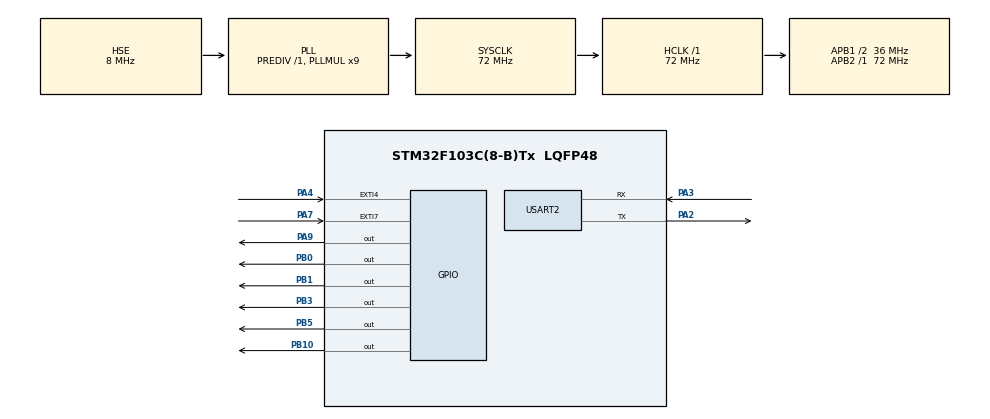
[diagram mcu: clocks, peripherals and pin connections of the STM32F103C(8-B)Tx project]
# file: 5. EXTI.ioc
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Mcu.Family=STM32F1
Mcu.Name=STM32F103C(8-B)Tx
Mcu.Package=LQFP48
NVIC.EXTI4_IRQn=true\:0\:0\:false\:true\:true\:2\:true\:true\:true
NVIC.EXTI9_5_IRQn=true\:0\:0\:true\:true\:true\:3\:true\:true\:true
NVIC.PriorityGroup=NVIC_PRIORITYGROUP_4
NVIC.TIM4_IRQn=true\:0\:0\:false\:true\:true\:4\:true\:true\:true
NVIC.USART2_IRQn=true\:0\:0\:false\:true\:true\:1\:true\:true\:true
PA13.Mode=Serial_Wire
PA13.Signal=SYS_JTMS-SWDIO
PA14.Mode=Serial_Wire
PA14.Signal=SYS_JTCK-SWCLK
PA2.Mode=Asynchronous
PA2.Signal=USART2_TX
PA3.Mode=Asynchronous
PA3.Signal=USART2_RX
PA4.GPIO_ModeDefaultEXTI=GPIO_MODE_IT_FALLING
PA4.Signal=GPXTI4
PA7.GPIO_ModeDefaultEXTI=GPIO_MODE_IT_FALLING
PA7.Signal=GPXTI7
PA9.Signal=GPIO_Output
PB0.Signal=GPIO_Output
PB1.Signal=GPIO_Output
PB10.Signal=GPIO_Output
PB3.Signal=GPIO_Output
PB5.Signal=GPIO_Output
PD0-OSC_IN.Mode=HSE-External-Oscillator
PD0-OSC_IN.Signal=RCC_OSC_IN
PD1-OSC_OUT.Mode=HSE-External-Oscillator
PD1-OSC_OUT.Signal=RCC_OSC_OUT
ProjectManager.HeapSize=0x200
ProjectManager.StackSize=0x400
ProjectManager.TargetToolchain=STM32CubeIDE
RCC.AHBFreq_Value=72000000
RCC.APB1CLKDivider=RCC_HCLK_DIV2
RCC.APB1Freq_Value=36000000
RCC.APB1TimFreq_Value=72000000
RCC.APB2Freq_Value=72000000
RCC.APB2TimFreq_Value=72000000
RCC.HCLKFreq_Value=72000000
RCC.PLLMUL=RCC_PLL_MUL9
RCC.PLLSourceVirtual=RCC_PLLSOURCE_HSE
RCC.SYSCLKFreq_VALUE=72000000
RCC.SYSCLKSource=RCC_SYSCLKSOURCE_PLLCLK
RCC.USBFreq_Value=72000000
TIM4.Period=7200-1
TIM4.Prescaler=10000-1
USART2.VirtualMode=VM_ASYNC
VP_TIM4_VS_ClockSourceINT.Mode=Internal
board=custom

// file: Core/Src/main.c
/* USER CODE BEGIN Header */
/**
  ******************************************************************************
  * @file           : main.c
  * @brief          : Main program body
  ******************************************************************************
  * @attention
  *
  * Copyright (c) 2022 STMicroelectronics.
  * All rights reserved.
  *
  * This software is licensed under terms that can be found in the LICENSE file
  * in the root directory of this software component.
  * If no LICENSE file comes with this software, it is provided AS-IS.
  *
  ******************************************************************************
  */
/* USER CODE END Header */
#include "main.h"
#include "tim.h"
#include "usart.h"
#include "gpio.h"

/* USER CODE BEGIN Includes */
#include <stdio.h>
#include "Character_LCD.h"
/* USER CODE END Includes */

void SystemClock_Config(void);
static void MX_NVIC_Init(void);

int main(void)
{

  /* MCU Configuration--------------------------------------------------------*/

  /* Reset of all peripherals, Initializes the Flash interface and the Systick. */
  HAL_Init();

  /* Configure the system clock */
  SystemClock_Config();

  /* Initialize all configured peripherals */
  MX_GPIO_Init();
  MX_USART2_UART_Init();
  MX_TIM4_Init();

  /* Initialize interrupts */
  MX_NVIC_Init();
  /* USER CODE BEGIN 2 */
//  CLCD_Init();
  HAL_TIM_Base_Start_IT(&htim4);
//  CLCD_Write(CLCD_ADDR_SET, 0, 0, "Hello World!!");

  /* USER CODE END 2 */

  /* Infinite loop */
  /* USER CODE BEGIN WHILE */

  volatile static char str[20];
  volatile static uint32_t cnt;

  while (1)
  {
	  sprintf(str, "Hello World!! : %d\n", cnt);
//	  HAL_UART_Transmit(&huart2, str, sizeof(str), 10);
//	  cnt++;
//	  HAL_Delay(1000);
    /* USER CODE END WHILE */

  }
}

void SystemClock_Config(void)
{
  RCC_OscInitTypeDef RCC_OscInitStruct = {0};
  RCC_ClkInitTypeDef RCC_ClkInitStruct = {0};

  /** Initializes the RCC Oscillators according to the specified parameters
  * in the RCC_OscInitTypeDef structure.
  */
  RCC_OscInitStruct.OscillatorType = RCC_OSCILLATORTYPE_HSE;
  RCC_OscInitStruct.HSEState = RCC_HSE_ON;
  RCC_OscInitStruct.HSEPredivValue = RCC_HSE_PREDIV_DIV1;
  RCC_OscInitStruct.HSIState = RCC_HSI_ON;
  RCC_OscInitStruct.PLL.PLLState = RCC_PLL_ON;
  RCC_OscInitStruct.PLL.PLLSource = RCC_PLLSOURCE_HSE;
  RCC_OscInitStruct.PLL.PLLMUL = RCC_PLL_MUL9;
  if (HAL_RCC_OscConfig(&RCC_OscInitStruct) != HAL_OK)
  {
    Error_Handler();
  }

  /** Initializes the CPU, AHB and APB buses clocks
  */
  RCC_ClkInitStruct.ClockType = RCC_CLOCKTYPE_HCLK|RCC_CLOCKTYPE_SYSCLK
                              |RCC_CLOCKTYPE_PCLK1|RCC_CLOCKTYPE_PCLK2;
  RCC_ClkInitStruct.SYSCLKSource = RCC_SYSCLKSOURCE_PLLCLK;
  RCC_ClkInitStruct.AHBCLKDivider = RCC_SYSCLK_DIV1;
  RCC_ClkInitStruct.APB1CLKDivider = RCC_HCLK_DIV2;
  RCC_ClkInitStruct.APB2CLKDivider = RCC_HCLK_DIV1;

  if (HAL_RCC_ClockConfig(&RCC_ClkInitStruct, FLASH_LATENCY_2) != HAL_OK)
  {
    Error_Handler();
  }
}

/**
  * @brief NVIC Configuration.
  * @retval None
  */
static void MX_NVIC_Init(void)
{
  /* USART2_IRQn interrupt configuration */
  HAL_NVIC_SetPriority(USART2_IRQn, 0, 0);
  HAL_NVIC_EnableIRQ(USART2_IRQn);
  /* EXTI4_IRQn interrupt configuration */
  HAL_NVIC_SetPriority(EXTI4_IRQn, 0, 0);
  HAL_NVIC_EnableIRQ(EXTI4_IRQn);
  /* EXTI9_5_IRQn interrupt configuration */
  HAL_NVIC_SetPriority(EXTI9_5_IRQn, 0, 0);
  HAL_NVIC_EnableIRQ(EXTI9_5_IRQn);
  /* TIM4_IRQn interrupt configuration */
  HAL_NVIC_SetPriority(TIM4_IRQn, 0, 0);
  HAL_NVIC_EnableIRQ(TIM4_IRQn);
}

/* USER CODE BEGIN 4 */
//void HAL_TIM_PeriodElapsedCallback(TIM_HandleTypeDef *htim)
//{
//	static uint16_t cnt;
//	char str[16];
//
//	if(htim->Instance == TIM2)
//	{
////		sprintf(str, "cnt = %d", cnt);
////		CLCD_Write(CLCD_ADDR_SET, 1, 0, str);
////		cnt++;
//	}
//}

void HAL_GPIO_EXTI_Callback(uint16_t GPIO_Pin)
{
	volatile static uint16_t cnt1;
	volatile static uint16_t cnt2;
	volatile static char str[50];
//	static uint8_t isFirst = 1;

//	if(isFirst)
//	{
//		CLCD_Clear_Display();
//		isFirst = 0;
//	}

	if(GPIO_Pin == GPIO_PIN_4)
	{
//		sprintf(str, "1 : %d", cnt1);
//		CLCD_Write(CLCD_ADDR_SET, 0, 0, str);
//		cnt1++;
//		sprintf(str, "Button1 : %d\n", cnt1);
//		HAL_UART_Transmit_IT(&huart2, str, sizeof(str));
//		cnt1++;
		HAL_GPIO_TogglePin(GPIOB, GPIO_PIN_0);
		HAL_GPIO_TogglePin(GPIOB, GPIO_PIN_1);
		HAL_GPIO_TogglePin(GPIOB, GPIO_PIN_10);
	}
	if(GPIO_Pin == GPIO_PIN_7)
	{
//		sprintf(str, "2 : %d", cnt2);
//		CLCD_Write(CLCD_ADDR_SET, 1, 0, str);
//		cnt2++;
		sprintf(str, "Button2 : %d\n", cnt2);
		HAL_UART_Transmit_IT(&huart2, str, sizeof(str));
		cnt2++;
	}
}

void HAL_TIM_PeriodElapsedCallback(TIM_HandleTypeDef *htim)
{
	volatile static uint16_t cnt;
	volatile static char str[50];

	if(htim->Instance == TIM4)
	{
		sprintf(str, "Hello World!! : %d\n", cnt);
		HAL_UART_Transmit_IT(&huart2, str, sizeof(str));
		cnt++;
	}
}
/* USER CODE END 4 */

void Error_Handler(void)
{
  __disable_irq();
  while (1)
  {
  }
}
